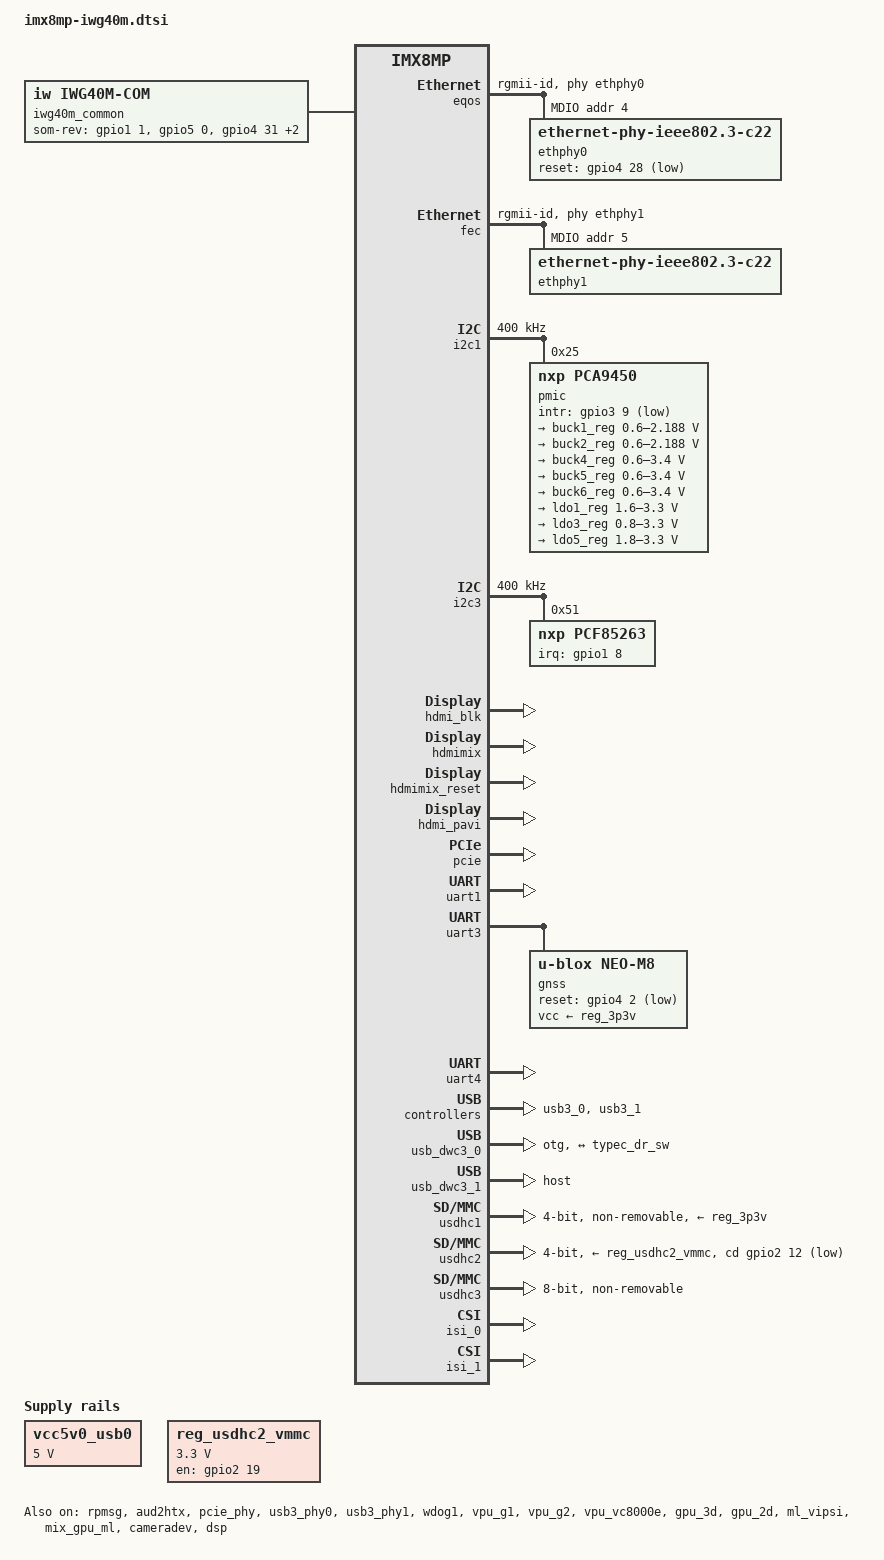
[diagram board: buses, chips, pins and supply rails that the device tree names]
// SPDX-License-Identifier: (GPL-2.0+ OR MIT)
/*
 * Copyright (C) 2022 iWave System Technologies Pvt Ltd. 
 */

/dts-v1/;

#include <dt-bindings/usb/pd.h>
#include "imx8mp.dtsi"

/ {
	chosen {
		stdout-path = &uart4;
	};
	
	aliases {
                ethernet0 = &eqos; 
                ethernet1 = &fec; 
		mmc0 = &usdhc3;
		mmc1 = &usdhc2;
		mmc2 = &usdhc1;
	};

        reserved-memory {
                #address-cells = <2>;
                #size-cells = <2>;
                ranges;

                m4_reserved: m4@0x80000000 {
                        no-map;
                        reg = <0 0x80000000 0 0x1000000>;
                };

                vdev0vring0: vdev0vring0@55000000 {
                        compatible = "shared-dma-pool";
                        reg = <0 0x55000000 0 0x8000>;
                        no-map;
                };

                vdev0vring1: vdev0vring1@55008000 {
                        compatible = "shared-dma-pool";
                        reg = <0 0x55008000 0 0x8000>;
                        no-map;
                };
                vdevbuffer: vdevbuffer@55400000 {
                        compatible = "shared-dma-pool";
                        reg = <0 0x55400000 0 0x100000>;
                        no-map;
                };

                rsc-table {
                        reg = <0 0x550ff000 0 0x1000>;
                        no-map;
                };
	};


        vcc5v0_usb0: vcc5v0-usb0-regulator { /* Regulator: Fixed 5V Regulator */
                compatible = "regulator-fixed";
                regulator-name = "vcc5v0_usb0";
                regulator-min-microvolt = <5000000>;
                regulator-max-microvolt = <5000000>;
                regulator-always-on;
        };

	reg_usdhc2_vmmc: regulator-usdhc2 { /* USDHC2: 3.3V VDD Enable Regulator */
		compatible = "regulator-fixed";
		regulator-name = "VSD_3V3";
		regulator-min-microvolt = <3300000>;
		regulator-max-microvolt = <3300000>;
		gpio = <&gpio2 19 GPIO_ACTIVE_HIGH>;
		enable-active-high;
		startup-delay-us = <100>;
		off-on-delay-us = <12000>;
		regulator-always-on;
	};


	sound-hdmi { /* HDMI: HDMI TX Audio */
		compatible = "fsl,imx-audio-cdnhdmi";
		model = "audio-hdmi";
		audio-cpu = <&aud2htx>;
		hdmi-out;
		constraint-rate = <44100>,
				<88200>,
				<176400>,
				<32000>,
				<48000>,
				<96000>,
				<192000>;
		status = "disabled";
	};

	/* SoC Board Setttings : Setting Board Configuration GPIOs */
        iwg40m_common {
                compatible = "iw,iwg40m-com";
                pinctrl-names = "default";
                pinctrl-0 = <&pinctrl_board_cfg>;
                som-rev-gpios = <&gpio1 1 0>, <&gpio5 0 0>, <&gpio4 31 0>,  <&gpio5 1 0>, <&gpio1 5 0>;
		carrier_pcb = <0>;
		carrier_bom = <0>;
                status = "okay";
	};
};

&rpmsg{
        /*
         * 64K for one rpmsg instance:
         * --0x55000000~0x5500ffff: pingpong
         */
        vdev-nums = <1>;
        reg = <0x0 0x55000000 0x0 0x10000>;
        memory-region = <&vdevbuffer>;
        status = "okay";
};

&aud2htx { /* HDMI: HDMI TX Audio controller */
	status = "okay";
};

&clk {
	init-on-array = <IMX8MP_CLK_HSIO_ROOT
			IMX8MP_CLK_GPIO1_ROOT
			IMX8MP_CLK_GPIO2_ROOT
			IMX8MP_CLK_GPIO3_ROOT
			IMX8MP_CLK_GPIO4_ROOT
			IMX8MP_CLK_GPIO5_ROOT>;
};

&A53_0 {
	cpu-supply = <&buck2_reg>;
};

&eqos { /* EQOS: AR8031 PHY ENET 0 */
	pinctrl-names = "default";
	pinctrl-0 = <&pinctrl_eqos>;
	phy-mode = "rgmii-id";
	phy-handle = <&ethphy0>;
	status = "okay";

	mdio {
		compatible = "snps,dwmac-mdio";
		#address-cells = <1>;
		#size-cells = <0>;

		ethphy0: ethernet-phy@4 {
			compatible = "ethernet-phy-ieee802.3-c22";
			reg = <4>;
        		reset-gpios = <&gpio4 28 GPIO_ACTIVE_LOW>;
			at803x,eee-disabled;
			at803x,vddio-1p8v;

		};
	};
};

&fec { /* FEC: AR8031 PHY ENET 1 */
	pinctrl-names = "default";
	pinctrl-0 = <&pinctrl_fec>;
	phy-mode = "rgmii-id";
	phy-handle = <&ethphy1>;
	fsl,magic-packet;
	status = "okay";

	mdio {
		#address-cells = <1>;
		#size-cells = <0>;

		ethphy1: ethernet-phy@5 {
			compatible = "ethernet-phy-ieee802.3-c22";
			reg = <5>;
			at803x,eee-disabled;
		        at803x,vddio-1p8v;	
		};
	};
};

&i2c1 {
	clock-frequency = <400000>;
	pinctrl-names = "default";
	pinctrl-0 = <&pinctrl_i2c1>;
	status = "okay";

	pmic: pca9450@25 {
		reg = <0x25>;
		compatible = "nxp,pca9450";
		/* PMIC PCA9450 PMIC_nINT GPIO3_I09 */
		pinctrl-0 = <&pinctrl_pmic>;
		gpio_intr = <&gpio3 9 GPIO_ACTIVE_LOW>;

		regulators {
			#address-cells = <1>;
			#size-cells = <0>;

			pca9450,pmic-buck2-uses-i2c-dvs;
			/* Run/Standby voltage */
			pca9450,pmic-buck2-dvs-voltage = <950000>, <850000>;

			buck1_reg: regulator@0 {
				reg = <0>;
				regulator-compatible = "buck1";
				regulator-min-microvolt = <600000>;
				regulator-max-microvolt = <2187500>;
				regulator-boot-on;
				regulator-always-on;
				regulator-ramp-delay = <3125>;
			};

			buck2_reg: regulator@1 {
				reg = <1>;
				regulator-compatible = "buck2";
				regulator-min-microvolt = <600000>;
				regulator-max-microvolt = <2187500>;
				regulator-boot-on;
				regulator-always-on;
				regulator-ramp-delay = <3125>;
			};

			buck4_reg: regulator@3 {
				reg = <3>;
				regulator-compatible = "buck4";
				regulator-min-microvolt = <600000>;
				regulator-max-microvolt = <3400000>;
				regulator-boot-on;
				regulator-always-on;
			};

			buck5_reg: regulator@4 {
				reg = <4>;
				regulator-compatible = "buck5";
				regulator-min-microvolt = <600000>;
				regulator-max-microvolt = <3400000>;
				regulator-boot-on;
				regulator-always-on;
			};

			buck6_reg: regulator@5 {
				reg = <5>;
				regulator-compatible = "buck6";
				regulator-min-microvolt = <600000>;
				regulator-max-microvolt = <3400000>;
				regulator-boot-on;
				regulator-always-on;
			};

			ldo1_reg: regulator@6 {
				reg = <6>;
				regulator-compatible = "ldo1";
				regulator-min-microvolt = <1600000>;
				regulator-max-microvolt = <3300000>;
				regulator-boot-on;
				regulator-always-on;
			};


			ldo3_reg: regulator@8 {
				reg = <8>;
				regulator-compatible = "ldo3";
				regulator-min-microvolt = <800000>;
				regulator-max-microvolt = <3300000>;
				regulator-boot-on;
				regulator-always-on;
			};


			ldo5_reg: regulator@10 {
				reg = <10>;
				regulator-compatible = "ldo5";
				regulator-min-microvolt = <1800000>;
				regulator-max-microvolt = <3300000>;
			};
		};
	};

};

&i2c3 {
	clock-frequency = <400000>;
	pinctrl-names = "default";
	pinctrl-0 = <&pinctrl_i2c3>;
	status = "okay";

	pcf85263:rtc@51 {
		compatible = "nxp,pcf85263";
		reg = <0x51>;
		pinctrl-names = "default";
		pinctrl-0 = <&pinctrl_pcf85263>;
		interrupt-parent = <&gpio1>;
		interrupts = <8 IRQ_TYPE_LEVEL_LOW>;
		interrupt-names = "INTA";
		wakeup-source;
		status = "okay";
	};
};

&irqsteer_hdmi {
	status = "disabled";
};

&flexcan1 { /* CAN: FLEXCAN1 */
	pinctrl-names = "default";
	pinctrl-0 = <&pinctrl_flexcan1>;
	status = "disabled";
};

&hdmi_blk {
        status = "okay";
};

&hdmimix {
        status = "okay";
};

&hdmimix_clk {
	status = "okay";
};

&hdmimix_reset {
	status = "okay";
};

&hdmi_pavi {
	status = "okay";
};

&hdmi {
	status = "disabled";
};

&hdmiphy {
	status = "disabled";
};

&pcie{
	pinctrl-names = "default";
	pinctrl-0 = <&pinctrl_pcie>;
	/*disable-gpio = <&gpio1 11 GPIO_ACTIVE_LOW>;*/
        /*reset-gpio = <&gpio1 10 GPIO_ACTIVE_LOW>;*/
	ext_osc = <0>;
	clocks = <&clk IMX8MP_CLK_HSIO_AXI_DIV>,
		 <&clk IMX8MP_CLK_PCIE_AUX>,
		 <&clk IMX8MP_CLK_PCIE_PHY>,
		 <&clk IMX8MP_CLK_PCIE_ROOT>;
	clock-names = "pcie", "pcie_aux", "pcie_phy", "pcie_bus";
	assigned-clocks = <&clk IMX8MP_CLK_HSIO_AXI_SRC>,
			  <&clk IMX8MP_CLK_PCIE_AUX>;
	assigned-clock-parents = <&clk IMX8MP_SYS_PLL2_500M>,
				 <&clk IMX8MP_SYS_PLL2_50M>;
	status = "okay";
};

&pcie_phy{
	ext_osc = <0>;
	status = "okay";
};

&uart1 { /* UART1: Bluetooth */
       pinctrl-names = "default";
       pinctrl-0 = <&pinctrl_uart1>;
       assigned-clocks = <&clk IMX8MP_CLK_UART1>;
       assigned-clock-parents = <&clk IMX8MP_SYS_PLL1_80M>;
       fsl,uart-has-rtscts;
       status = "okay";
};

&uart3 {
        pinctrl-names = "default";
        pinctrl-0 = <&pinctrl_uart3>;
        assigned-clocks = <&clk IMX8MP_CLK_UART3>;
        assigned-clock-parents = <&clk IMX8MP_SYS_PLL1_80M>;
        status = "okay";

           gnss {
                compatible = "u-blox,neo-m8";
                vcc-supply = <&reg_3p3v>;
                reset-gpios = <&gpio4 2 GPIO_ACTIVE_LOW>;
                status = "okay";
                current-speed = <9600>;
        };
};

&uart4 {
	/*UART4: Debug console */
	pinctrl-names = "default";
	pinctrl-0 = <&pinctrl_uart4>;
        assigned-clocks = <&clk IMX8MP_CLK_UART4>;
        assigned-clock-parents = <&clk IMX8MP_SYS_PLL1_80M>;
	status = "okay";
};

&usb3_phy0 {
	vbus-power-supply = <&fusb302>;
	vbus-supply = <&vcc5v0_usb0>;
	fsl,phy-tx-vref-tune = <6>;
	fsl,phy-tx-rise-tune = <0>;
	fsl,phy-tx-preemp-amp-tune = <3>;
	fsl,phy-comp-dis-tune = <7>;
	fsl,pcs-tx-deemph-3p5db = <0x21>;
	fsl,phy-pcs-tx-swing-full = <0x7f>;
	status = "okay";
};

&usb3_0 {
	status = "okay";
};

&usb_dwc3_0 { /* USB3.0 Type C*/
	dr_mode = "otg";
	hnp-disable;
	srp-disable;
	adp-disable;
	usb-role-switch;
	status = "okay";

	port {
		usb3_drd_sw: endpoint {
			remote-endpoint = <&typec_dr_sw>;
		};
	};
};

&usb3_phy1 {
	fsl,phy-tx-preemp-amp-tune = <2>;
	status = "okay";
};

&usb3_1 {
	status = "okay";
};

&usb_dwc3_1 { /* USB HUB*/
	dr_mode = "host";
	status = "okay";
};

&usdhc1 { /* USDHC1: SDIO JODY-W2 WIFI */
        pinctrl-names = "default","state_100mhz", "state_200mhz";
        pinctrl-0 = <&pinctrl_usdhc1>, <&pinctrl_usdhc1_gpio>;
        pinctrl-1 = <&pinctrl_usdhc1>, <&pinctrl_usdhc1_gpio>;
        pinctrl-2 = <&pinctrl_usdhc1>, <&pinctrl_usdhc1_gpio>;
        wifi-host-gpio = <&gpio2 9 GPIO_ACTIVE_HIGH>;
        wifi-dev-gpio = <&gpio2 8 GPIO_ACTIVE_HIGH>;
        bt-host-gpio = <&gpio2 11 GPIO_ACTIVE_HIGH>;
        bt-dev-gpio = <&gpio2 10 GPIO_ACTIVE_HIGH>;
        wl-en-gpio = <&gpio2 6 GPIO_ACTIVE_HIGH>;
        bt-en-gpio = <&gpio2 7 GPIO_ACTIVE_HIGH>;
        bus-width = <4>;
	wifi-host;
        vmmc-supply = <&reg_3p3v>;
        non-removable;
        fsl,tuning-start-tap = <40>;
        fsl,tuning-step= <2>;
        status = "okay";
};

&usdhc2 { /* USDHC2: Standard SD */
	pinctrl-names = "default", "state_100mhz", "state_200mhz";
	pinctrl-0 = <&pinctrl_usdhc2>, <&pinctrl_usdhc2_gpio>;
	pinctrl-1 = <&pinctrl_usdhc2_100mhz>, <&pinctrl_usdhc2_gpio>;
	pinctrl-2 = <&pinctrl_usdhc2_200mhz>, <&pinctrl_usdhc2_gpio>;
	cd-gpios = <&gpio2 12 GPIO_ACTIVE_LOW>;
	vmmc-supply = <&reg_usdhc2_vmmc>;
	bus-width = <4>;
	status = "okay";
};

&usdhc3 { /* USDHC3: eMMC */
	pinctrl-names = "default", "state_100mhz", "state_200mhz";
	pinctrl-0 = <&pinctrl_usdhc3>;
	pinctrl-1 = <&pinctrl_usdhc3_100mhz>;
	pinctrl-2 = <&pinctrl_usdhc3_200mhz>;
	bus-width = <8>;
	non-removable;
	status = "okay";
};

&wdog1 {
	pinctrl-names = "default";
	pinctrl-0 = <&pinctrl_wdog>;
	fsl,ext-reset-output;
	status = "okay";
};

&iomuxc {
	pinctrl-names = "default";
	pinctrl-0 = <&pinctrl_hog>;

	pinctrl_hog: hoggrp {
		fsl,pins = < /* HDMI: HDMI DDC,HPD IOMUX Pin configuration */
			MX8MP_IOMUXC_HDMI_DDC_SCL__HDMIMIX_HDMI_SCL	0x400001c7
			MX8MP_IOMUXC_HDMI_DDC_SDA__HDMIMIX_HDMI_SDA	0x400001c7
			MX8MP_IOMUXC_HDMI_HPD__HDMIMIX_HDMI_HPD		0x40000019
		>;
	};

	pinctrl_eqos: eqosgrp { /* Ethernet0: IOMUX Pin Configuration */
		fsl,pins = <
			MX8MP_IOMUXC_ENET_MDC__ENET_QOS_MDC        0x3
			MX8MP_IOMUXC_ENET_MDIO__ENET_QOS_MDIO      0x3
			MX8MP_IOMUXC_ENET_RD0__ENET_QOS_RGMII_RD0  0x91
			MX8MP_IOMUXC_ENET_RD1__ENET_QOS_RGMII_RD1  0x91
			MX8MP_IOMUXC_ENET_RD2__ENET_QOS_RGMII_RD2  0x91
			MX8MP_IOMUXC_ENET_RD3__ENET_QOS_RGMII_RD3  0x91
			MX8MP_IOMUXC_ENET_RXC__CCM_ENET_QOS_CLOCK_GENERATE_RX_CLK  0x91
                        MX8MP_IOMUXC_ENET_RX_CTL__ENET_QOS_RGMII_RX_CTL            0x91
			MX8MP_IOMUXC_ENET_TD0__ENET_QOS_RGMII_TD0                  0x1f
			MX8MP_IOMUXC_ENET_TD1__ENET_QOS_RGMII_TD1                  0x1f
			MX8MP_IOMUXC_ENET_TD2__ENET_QOS_RGMII_TD2                  0x1f
			MX8MP_IOMUXC_ENET_TD3__ENET_QOS_RGMII_TD3                  0x1f
			MX8MP_IOMUXC_ENET_TX_CTL__ENET_QOS_RGMII_TX_CTL            0x1f
			MX8MP_IOMUXC_ENET_TXC__CCM_ENET_QOS_CLOCK_GENERATE_TX_CLK  0x1f                 
			MX8MP_IOMUXC_SAI3_RXFS__GPIO4_IO28                         0x19
			MX8MP_IOMUXC_SAI2_RXC__GPIO4_IO22                          0x19
		>;
	};

	pinctrl_fec: fecgrp { /* Ethernet1: IOMUX Pin Configuration */
		fsl,pins = <
			MX8MP_IOMUXC_SAI1_RXD2__ENET1_MDC		0x3
			MX8MP_IOMUXC_SAI1_RXD3__ENET1_MDIO		0x3
			MX8MP_IOMUXC_SAI1_RXD4__ENET1_RGMII_RD0		0x91
			MX8MP_IOMUXC_SAI1_RXD5__ENET1_RGMII_RD1		0x91
			MX8MP_IOMUXC_SAI1_RXD6__ENET1_RGMII_RD2		0x91
			MX8MP_IOMUXC_SAI1_RXD7__ENET1_RGMII_RD3		0x91
			MX8MP_IOMUXC_SAI1_TXC__ENET1_RGMII_RXC		0x91
			MX8MP_IOMUXC_SAI1_TXFS__ENET1_RGMII_RX_CTL	0x91
			MX8MP_IOMUXC_SAI1_TXD0__ENET1_RGMII_TD0		0x1f
			MX8MP_IOMUXC_SAI1_TXD1__ENET1_RGMII_TD1		0x1f
			MX8MP_IOMUXC_SAI1_TXD2__ENET1_RGMII_TD2		0x1f
			MX8MP_IOMUXC_SAI1_TXD3__ENET1_RGMII_TD3		0x1f
			MX8MP_IOMUXC_SAI1_TXD4__ENET1_RGMII_TX_CTL	0x1f
			MX8MP_IOMUXC_SAI1_TXD5__ENET1_RGMII_TXC		0x1f
			MX8MP_IOMUXC_SAI2_RXFS__GPIO4_IO21              0x19
			
		>;
	};

	pinctrl_flexcan1: flexcan1grp { /* CAN: FLEXCAN1 IOMUX Pin Configuration */
		fsl,pins = <
			MX8MP_IOMUXC_SAI5_RXD1__CAN1_TX          0x154
			MX8MP_IOMUXC_SAI5_RXD2__CAN1_RX         0x154
		>;
	};


	pinctrl_i2c1: i2c1grp { /* I2C1: IOMUX Pin Configuration */
		fsl,pins = <
			MX8MP_IOMUXC_I2C1_SCL__I2C1_SCL		0x400001c3
			MX8MP_IOMUXC_I2C1_SDA__I2C1_SDA		0x400001c3
		>;
	};

	pinctrl_i2c3: i2c3grp { /* I2C3: IOMUX Pin Configuration */
		fsl,pins = <
			MX8MP_IOMUXC_I2C3_SCL__I2C3_SCL			0x400001c3
			MX8MP_IOMUXC_I2C3_SDA__I2C3_SDA			0x400001c3
		>;
	};

	pinctrl_pcf85263: pcf85263grp { /* RTC: IOMUX Pin Configuration */
                fsl,pins = <
                        MX8MP_IOMUXC_GPIO1_IO08__GPIO1_IO08             0x1c4
                >;
        };

	pinctrl_pcie: pciegrp { /* PCIe: IOMUX Pin Configuration */
		fsl,pins = <
			MX8MP_IOMUXC_GPIO1_IO14__GPIO1_IO14             0x1c4 /*PCIe Wake*/
		>;
	};

	pinctrl_pmic: pmicirq { /* PMIC: IOMUX Pin Configuration */
		fsl,pins = <
			MX8MP_IOMUXC_NAND_DATA03__GPIO3_IO09	0x41 /*IRQ GPIO*/
		>;
	};

	pinctrl_uart1: uart1grp { /* UART1: Bluetooth IOMUX Pin Configuration */
		fsl,pins = <
			MX8MP_IOMUXC_UART1_RXD__UART1_DCE_RX	0x140
			MX8MP_IOMUXC_UART1_TXD__UART1_DCE_TX	0x140
			MX8MP_IOMUXC_UART3_RXD__UART1_DCE_CTS	0x140
			MX8MP_IOMUXC_UART3_TXD__UART1_DCE_RTS	0x140
		>;
	};


	pinctrl_uart4: uart4grp { /* UART4: Debug console IOMUX Pin Configuration */
		fsl,pins = <
			MX8MP_IOMUXC_UART4_TXD__UART4_DCE_TX	0x49
			MX8MP_IOMUXC_UART4_RXD__UART4_DCE_RX	0x49
		>;
	};

        pinctrl_uart3: uart3grp { /*UART3: GNSS IOMUX Pin Configuration*/
                fsl,pins = <
                        MX8MP_IOMUXC_NAND_CE0_B__UART3_DCE_TX    0x49
                        MX8MP_IOMUXC_NAND_ALE__UART3_DCE_RX   0x49
			MX8MP_IOMUXC_SAI1_RXD0__GPIO4_IO02   0x1c4
                >;
        };

	pinctrl_usdhc1: usdhc1grp { /* USDHC1: WIFI IOMUX Pin Configuration */
		fsl,pins = <
			MX8MP_IOMUXC_SD1_CLK__USDHC1_CLK      0x190
			MX8MP_IOMUXC_SD1_CMD__USDHC1_CMD      0x1d0
			MX8MP_IOMUXC_SD1_DATA0__USDHC1_DATA0  0x1d0
			MX8MP_IOMUXC_SD1_DATA1__USDHC1_DATA1  0x1d0
			MX8MP_IOMUXC_SD1_DATA2__USDHC1_DATA2  0x1d0
			MX8MP_IOMUXC_SD1_DATA3__USDHC1_DATA3  0x1d0
		>;
	};
	
	pinctrl_usdhc1_gpio: usdhc1grpgpio {
                fsl,pins = <
			MX8MP_IOMUXC_SD1_DATA4__GPIO2_IO06   0x1c4
			MX8MP_IOMUXC_SD1_DATA5__GPIO2_IO07   0x1c4
			MX8MP_IOMUXC_SD1_DATA6__GPIO2_IO08   0x1c4
			MX8MP_IOMUXC_SD1_DATA7__GPIO2_IO09   0x1c4
			MX8MP_IOMUXC_SD1_RESET_B__GPIO2_IO10  0x1c4
			MX8MP_IOMUXC_SD1_STROBE__GPIO2_IO11   0x1c4
		>;
	};

	pinctrl_usdhc2_gpio: usdhc2grp-gpio {
		fsl,pins = <
			MX8MP_IOMUXC_SD2_CD_B__GPIO2_IO12 	0x1c4
			MX8MP_IOMUXC_SD2_RESET_B__GPIO2_IO19     0x41
			
		>;
	};

	pinctrl_usdhc2: usdhc2grp { /* USDHC2: Standard SD IOMUX Pin Configuration */
		fsl,pins = <
			MX8MP_IOMUXC_SD2_CLK__USDHC2_CLK	0x190
			MX8MP_IOMUXC_SD2_CMD__USDHC2_CMD	0x1d0
			MX8MP_IOMUXC_SD2_DATA0__USDHC2_DATA0	0x1d0
			MX8MP_IOMUXC_SD2_DATA1__USDHC2_DATA1	0x1d0
			MX8MP_IOMUXC_SD2_DATA2__USDHC2_DATA2	0x1d0
			MX8MP_IOMUXC_SD2_DATA3__USDHC2_DATA3	0x1d0
			MX8MP_IOMUXC_GPIO1_IO04__USDHC2_VSELECT	0xc1
		>;
	};

	pinctrl_usdhc2_100mhz: usdhc2grp-100mhz {
		fsl,pins = <
			MX8MP_IOMUXC_SD2_CLK__USDHC2_CLK	0x194
			MX8MP_IOMUXC_SD2_CMD__USDHC2_CMD	0x1d4
			MX8MP_IOMUXC_SD2_DATA0__USDHC2_DATA0	0x1d4
			MX8MP_IOMUXC_SD2_DATA1__USDHC2_DATA1	0x1d4
			MX8MP_IOMUXC_SD2_DATA2__USDHC2_DATA2	0x1d4
			MX8MP_IOMUXC_SD2_DATA3__USDHC2_DATA3	0x1d4
			MX8MP_IOMUXC_GPIO1_IO04__USDHC2_VSELECT 0xc1
		>;
	};

	pinctrl_usdhc2_200mhz: usdhc2grp-200mhz {
		fsl,pins = <
			MX8MP_IOMUXC_SD2_CLK__USDHC2_CLK	0x196
			MX8MP_IOMUXC_SD2_CMD__USDHC2_CMD	0x1d6
			MX8MP_IOMUXC_SD2_DATA0__USDHC2_DATA0	0x1d6
			MX8MP_IOMUXC_SD2_DATA1__USDHC2_DATA1	0x1d6
			MX8MP_IOMUXC_SD2_DATA2__USDHC2_DATA2	0x1d6
			MX8MP_IOMUXC_SD2_DATA3__USDHC2_DATA3	0x1d6
			MX8MP_IOMUXC_GPIO1_IO04__USDHC2_VSELECT 0xc1
		>;
	};

	pinctrl_usdhc3: usdhc3grp { /* USDHC3: eMMC IOMUX Pin Configuration */
		fsl,pins = <
			MX8MP_IOMUXC_NAND_WE_B__USDHC3_CLK	0x190
			MX8MP_IOMUXC_NAND_WP_B__USDHC3_CMD	0x1d0
			MX8MP_IOMUXC_NAND_DATA04__USDHC3_DATA0	0x1d0
			MX8MP_IOMUXC_NAND_DATA05__USDHC3_DATA1	0x1d0
			MX8MP_IOMUXC_NAND_DATA06__USDHC3_DATA2	0x1d0
			MX8MP_IOMUXC_NAND_DATA07__USDHC3_DATA3	0x1d0
			MX8MP_IOMUXC_NAND_RE_B__USDHC3_DATA4	0x1d0
			MX8MP_IOMUXC_NAND_CE2_B__USDHC3_DATA5	0x1d0
			MX8MP_IOMUXC_NAND_CE3_B__USDHC3_DATA6	0x1d0
			MX8MP_IOMUXC_NAND_CLE__USDHC3_DATA7	0x1d0
			MX8MP_IOMUXC_NAND_CE1_B__USDHC3_STROBE	0x190
		>;
	};

	pinctrl_usdhc3_100mhz: usdhc3grp-100mhz {
		fsl,pins = <
			MX8MP_IOMUXC_NAND_WE_B__USDHC3_CLK	0x194
			MX8MP_IOMUXC_NAND_WP_B__USDHC3_CMD	0x1d4
			MX8MP_IOMUXC_NAND_DATA04__USDHC3_DATA0	0x1d4
			MX8MP_IOMUXC_NAND_DATA05__USDHC3_DATA1	0x1d4
			MX8MP_IOMUXC_NAND_DATA06__USDHC3_DATA2	0x1d4
			MX8MP_IOMUXC_NAND_DATA07__USDHC3_DATA3	0x1d4
			MX8MP_IOMUXC_NAND_RE_B__USDHC3_DATA4	0x1d4
			MX8MP_IOMUXC_NAND_CE2_B__USDHC3_DATA5	0x1d4
			MX8MP_IOMUXC_NAND_CE3_B__USDHC3_DATA6	0x1d4
			MX8MP_IOMUXC_NAND_CLE__USDHC3_DATA7	0x1d4
			MX8MP_IOMUXC_NAND_CE1_B__USDHC3_STROBE	0x194
		>;
	};

	pinctrl_usdhc3_200mhz: usdhc3grp-200mhz {
		fsl,pins = <
			MX8MP_IOMUXC_NAND_WE_B__USDHC3_CLK	0x196
			MX8MP_IOMUXC_NAND_WP_B__USDHC3_CMD	0x1d6
			MX8MP_IOMUXC_NAND_DATA04__USDHC3_DATA0	0x1d6
			MX8MP_IOMUXC_NAND_DATA05__USDHC3_DATA1	0x1d6
			MX8MP_IOMUXC_NAND_DATA06__USDHC3_DATA2	0x1d6
			MX8MP_IOMUXC_NAND_DATA07__USDHC3_DATA3	0x1d6
			MX8MP_IOMUXC_NAND_RE_B__USDHC3_DATA4	0x1d6
			MX8MP_IOMUXC_NAND_CE2_B__USDHC3_DATA5	0x1d6
			MX8MP_IOMUXC_NAND_CE3_B__USDHC3_DATA6	0x1d6
			MX8MP_IOMUXC_NAND_CLE__USDHC3_DATA7	0x1d6
			MX8MP_IOMUXC_NAND_CE1_B__USDHC3_STROBE	0x196
		>;
	};

	pinctrl_wdog: wdoggrp {
		fsl,pins = <
			MX8MP_IOMUXC_GPIO1_IO02__WDOG1_WDOG_B	0xc6
		>;
	};

	pinctrl_board_cfg: boardrevgrp {
                fsl,pins = <
			MX8MP_IOMUXC_GPIO1_IO01__GPIO1_IO01         0x1c4
			MX8MP_IOMUXC_SAI3_TXC__GPIO5_IO00	    0x1c4
			MX8MP_IOMUXC_SAI3_TXFS__GPIO4_IO31	    0x1c4
			MX8MP_IOMUXC_SAI3_TXD__GPIO5_IO01           0x1c4
			MX8MP_IOMUXC_GPIO1_IO05__GPIO1_IO05	    0x1c4
                >;
	};
};

&vpu_g1 {
	status = "okay";
};

&vpu_g2 {
	status = "okay";
};

&vpu_vc8000e {
	status = "okay";
};

&gpu_3d {
	status = "okay";
};

&gpu_2d {
	status = "okay";
};

&ml_vipsi {
	status = "okay";
};

&mix_gpu_ml {
	status = "okay";
};

&cameradev {
	status = "okay";
};

&isi_0 {
	status = "okay";

	cap_device {
		status = "okay";
	};

	m2m_device {
		status = "okay";
	};
};

&isi_1 {
        status = "okay";

        cap_device {
                status = "okay";
        };
};


&dsp {
	status = "okay";
};
